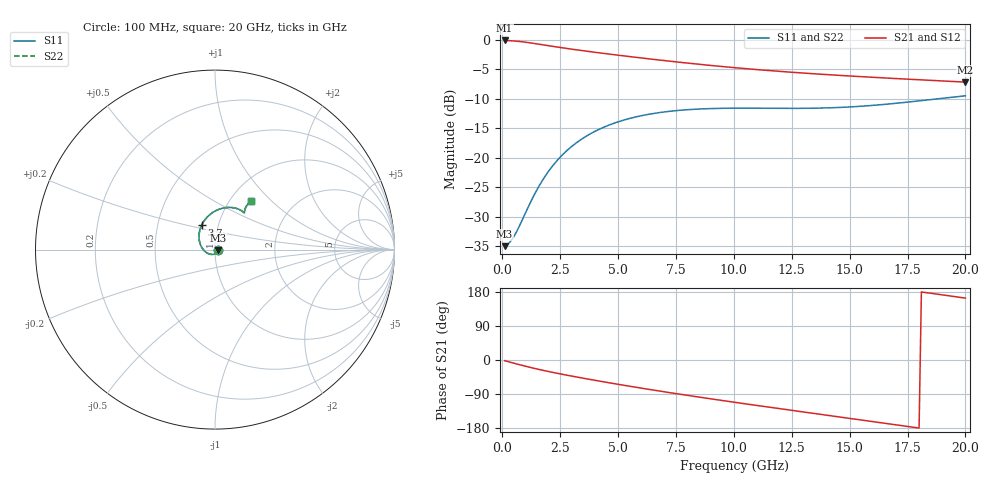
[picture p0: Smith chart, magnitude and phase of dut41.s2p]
! Created with skrf 1.9.0 (http://scikit-rf.org).
# GHz S RI R 50.0
!freq ReS11 ImS11 ReS21 ImS21 ReS12 ImS12 ReS22 ImS22
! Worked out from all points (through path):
!   200 points, 100 MHz to 20 GHz, reference 50 ohm
!   highest |S21| = -0.16 dB at 100 MHz (marker M1); lowest = -7.2 dB at 20 GHz (marker M2)
!   group delay of S21, straight-line fit = 25.9 ps
!   lowest |S11| = -35.0 dB at 100 MHz (marker M3), VSWR 1.04, Z = 51.7 - j0.457 ohm
!   |S11| at or under -10 dB: start of sweep to 18.91 GHz
!   |S22| runs from -35.0 to -9.5 dB; largest |S21 - S12| = 2.1e-15
!   S11 on the Smith chart (normalised r, x): 100 MHz: 1.03, -0.01; 3.7 GHz: 0.83, +0.23; 20 GHz: 1.24, +0.75
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0.1  0.0172 -0.00442  0.9815 -0.0297  0.9815 -0.0297  0.0172 -0.00442
0.3  0.0137 -0.0131  0.9748 -0.0878  0.9748 -0.0878  0.0137 -0.0131
0.5  0.00674 -0.0204  0.9621 -0.1439  0.9621 -0.1439  0.00674 -0.0204
1  -0.0209 -0.0267  0.91 -0.2695  0.91 -0.2695  -0.0209 -0.0267
1.4  -0.0459 -0.0176  0.855 -0.3523  0.855 -0.3523  -0.0459 -0.0176
1.7  -0.0624 -0.00373  0.8102 -0.4046  0.8102 -0.4046  -0.0624 -0.00373
2  -0.0753 0.0145  0.7641 -0.4496  0.7641 -0.4496  -0.0753 0.0145
2.7  -0.089 0.0652  0.6562 -0.5321  0.6562 -0.5321  -0.089 0.0652
3.5  -0.0799 0.1227  0.5358 -0.5982  0.5358 -0.5982  -0.0799 0.1227
3.7  -0.0746 0.1356  0.5063 -0.6109  0.5063 -0.6109  -0.0746 0.1356
4.4  -0.0495 0.1745  0.405 -0.6452  0.405 -0.6452  -0.0495 0.1745
5.1  -0.0186 0.2028  0.3076 -0.6649  0.3076 -0.6649  -0.0186 0.2028
5.9  0.0185 0.2232  0.2021 -0.6719  0.2021 -0.6719  0.0185 0.2232
6.8  0.0577 0.2336  0.0925 -0.6632  0.0925 -0.6632  0.0577 0.2336
8.4  0.1122 0.2314  -0.0758 -0.615  -0.0758 -0.615  0.1122 0.2314
10.1  0.1461 0.2176  -0.2175 -0.5331  -0.2175 -0.5331  0.1461 0.2176
11.7  0.16 0.2067  -0.319 -0.4386  -0.319 -0.4386  0.16 0.2067
13.4  0.1637 0.2043  -0.3962 -0.3267  -0.3962 -0.3267  0.1637 0.2043
15  0.1644 0.2121  -0.4415 -0.2148  -0.4415 -0.2148  0.1644 0.2121
16.7  0.1686 0.229  -0.4609 -0.0938  -0.4609 -0.0938  0.1686 0.229
18.3  0.1793 0.2488  -0.4526 0.0168  -0.4526 0.0168  0.1793 0.2488
20  0.1982 0.2684  -0.4175 0.1249  -0.4175 0.1249  0.1982 0.2684
